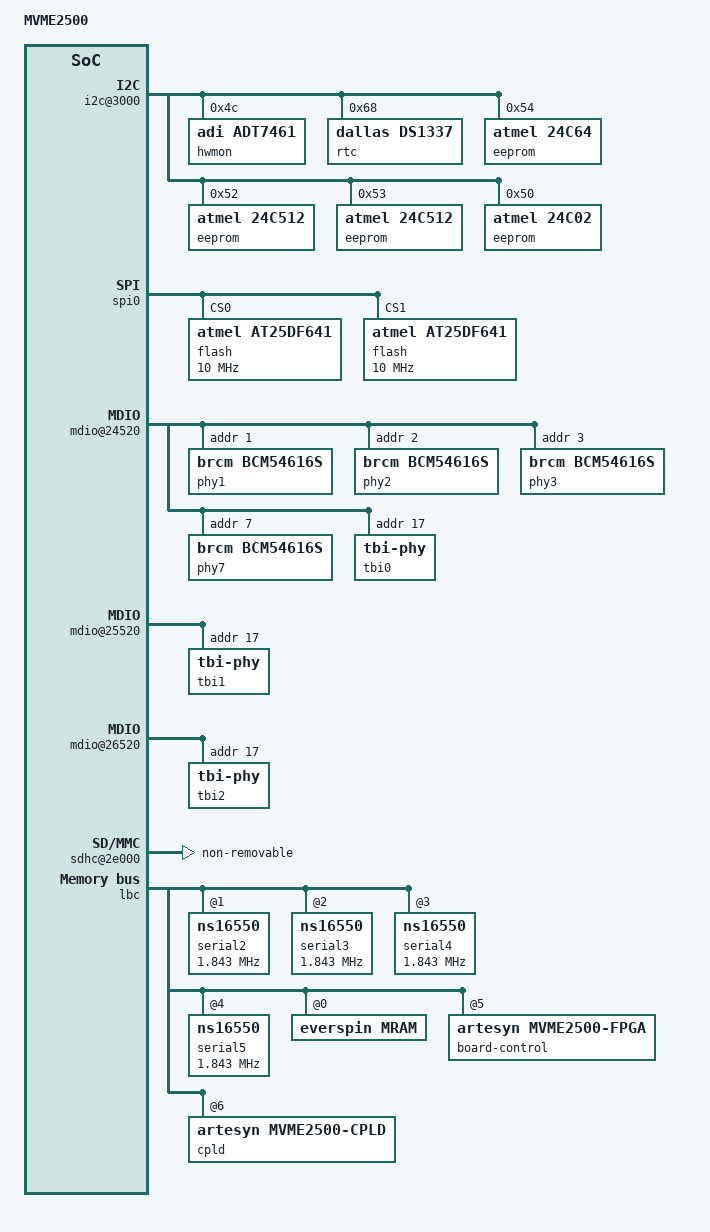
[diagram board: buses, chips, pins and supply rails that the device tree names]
/*
 * Device tree source for the Emerson/Artesyn MVME2500
 *
 * Copyright 2014 Elettra-Sincrotrone Trieste S.C.p.A.
 *
 * This program is free software; you can redistribute  it and/or modify it
 * under  the terms of  the GNU General  Public License as published by the
 * Free Software Foundation;  either version 2 of the  License, or (at your
 * option) any later version.
 *
 * Based on: P2020 DS Device Tree Source
 * Copyright 2009 Freescale Semiconductor Inc.
 */

/include/ "fsl/p2020si-pre.dtsi"

/ {
	model = "MVME2500";
	compatible = "artesyn,MVME2500";

	aliases {
		serial2 = &serial2;
		serial3 = &serial3;
		serial4 = &serial4;
		serial5 = &serial5;
	};

	memory {
		device_type = "memory";
	};

	soc: soc@ffe00000 {
		ranges = <0x0 0 0xffe00000 0x100000>;

		i2c@3000 {
			hwmon@4c {
				compatible = "adi,adt7461";
				reg = <0x4c>;
			};

			rtc@68 {
				compatible = "dallas,ds1337";
				reg = <0x68>;
				interrupts = <8 1 0 0>;
			};

			eeprom@54 {
				compatible = "atmel,24c64";
				reg = <0x54>;
			};

			eeprom@52 {
				compatible = "atmel,24c512";
				reg = <0x52>;
			};

			eeprom@53 {
				compatible = "atmel,24c512";
				reg = <0x53>;
			};

			eeprom@50 {
				compatible = "atmel,24c02";
				reg = <0x50>;
			};

		};

		spi0: spi@7000 {
			fsl,espi-num-chipselects = <2>;

			flash@0 {
				compatible = "atmel,at25df641";
				reg = <0>;
				spi-max-frequency = <10000000>;
			};
			flash@1 {
				compatible = "atmel,at25df641";
				reg = <1>;
				spi-max-frequency = <10000000>;
			};
		};

		usb@22000 {
			dr_mode = "host";
			phy_type = "ulpi";
		};

		enet0: ethernet@24000 {
			tbi-handle = <&tbi0>;
			phy-handle = <&phy1>;
			phy-connection-type = "rgmii-id";
		};

		mdio@24520 {
			phy1: ethernet-phy@1 {
				compatible = "brcm,bcm54616S";
				interrupts = <6 1 0 0>;
				reg = <0x1>;
			};

			phy2: ethernet-phy@2 {
				compatible = "brcm,bcm54616S";
				interrupts = <6 1 0 0>;
				reg = <0x2>;
			};

			phy3: ethernet-phy@3 {
				compatible = "brcm,bcm54616S";
				interrupts = <5 1 0 0>;
				reg = <0x3>;
			};

			phy7: ethernet-phy@7 {
				compatible = "brcm,bcm54616S";
				interrupts = <7 1 0 0>;
				reg = <0x7>;
			};

			tbi0: tbi-phy@11 {
				reg = <0x11>;
				device_type = "tbi-phy";
			};
		};

		enet1: ethernet@25000 {
			tbi-handle = <&tbi1>;
			phy-handle = <&phy7>;
			phy-connection-type = "rgmii-id";
		};

		mdio@25520 {
			tbi1: tbi-phy@11 {
				reg = <0x11>;
				device_type = "tbi-phy";
			};
		};

		enet2: ethernet@26000 {
			tbi-handle = <&tbi2>;
			phy-handle = <&phy3>;
			phy-connection-type = "rgmii-id";
		};

		mdio@26520 {
			tbi2: tbi-phy@11 {
				reg = <0x11>;
				device_type = "tbi-phy";
			};
		};
	};

	lbc: localbus@ffe05000 {
		reg = <0 0xffe05000 0 0x1000>;

		ranges = <0x0 0x0 0x0 0xfff00000 0x00080000
			  0x1 0x0 0x0 0xffc40000 0x00010000
			  0x2 0x0 0x0 0xffc50000 0x00010000
			  0x3 0x0 0x0 0xffc60000 0x00010000
			  0x4 0x0 0x0 0xffc70000 0x00010000
			  0x6 0x0 0x0 0xffc80000 0x00010000
			  0x5 0x0 0x0 0xffdf0000 0x00008000>;

		serial2: serial@1,0 {
			device_type = "serial";
			compatible = "ns16550";
			reg = <0x1 0x0 0x100>;
			clock-frequency = <1843200>;
			interrupts = <11 2 0 0>;
		};

		serial3: serial@2,0 {
			device_type = "serial";
			compatible = "ns16550";
			reg = <0x2 0x0 0x100>;
			clock-frequency = <1843200>;
			interrupts = <1 2 0 0>;
		};

		serial4: serial@3,0 {
			device_type = "serial";
			compatible = "ns16550";
			reg = <0x3 0x0 0x100>;
			clock-frequency = <1843200>;
			interrupts = <2 2 0 0>;
		};

		serial5: serial@4,0 {
			device_type = "serial";
			compatible = "ns16550";
			reg = <0x4 0x0 0x100>;
			clock-frequency = <1843200>;
			interrupts = <3 2 0 0>;
		};

		mram@0,0 {
			compatible = "everspin,mram", "mtd-ram";
			reg = <0x0 0x0 0x80000>;
			bank-width = <2>;
		};

		board-control@5,0 {
			compatible = "artesyn,mvme2500-fpga";
			reg = <0x5 0x0 0x01000>;
		};

		cpld@6,0 {
			compatible = "artesyn,mvme2500-cpld";
			reg = <0x6 0x0 0x10000>;
			interrupts = <9 1 0 0>;
		};
	};

	pci0: pcie@ffe08000 {
		reg = <0 0xffe08000 0 0x1000>;
		ranges = <0x2000000 0x0 0x80000000 0 0x80000000 0x0 0x20000000
			  0x1000000 0x0 0x00000000 0 0xffc00000 0x0 0x10000>;
		pcie@0 {
			ranges = <0x2000000 0x0 0x80000000
				  0x2000000 0x0 0x80000000
				  0x0 0x20000000

				  0x1000000 0x0 0x0
				  0x1000000 0x0 0x0
				  0x0 0x10000>;
		};
	};

	pci1: pcie@ffe09000 {
		reg = <0 0xffe09000 0 0x1000>;
		ranges = <0x2000000 0x0 0xa0000000 0 0xa0000000 0x0 0x20000000
			  0x1000000 0x0 0x00000000 0 0xffc10000 0x0 0x10000>;
		pcie@0 {
			ranges = <0x2000000 0x0 0xa0000000
				  0x2000000 0x0 0xa0000000
				  0x0 0x20000000

				  0x1000000 0x0 0x0
				  0x1000000 0x0 0x0
				  0x0 0x10000>;
		};

	};

	pci2: pcie@ffe0a000 {
		reg = <0 0xffe0a000 0 0x1000>;
		ranges = <0x2000000 0x0 0xc0000000 0 0xc0000000 0x0 0x20000000
			  0x1000000 0x0 0x00000000 0 0xffc20000 0x0 0x10000>;
		pcie@0 {
			ranges = <0x2000000 0x0 0xc0000000
				  0x2000000 0x0 0xc0000000
				  0x0 0x20000000

				  0x1000000 0x0 0x0
				  0x1000000 0x0 0x0
				  0x0 0x10000>;
		};
	};
};

/include/ "fsl/p2020si-post.dtsi"

/ {
	soc@ffe00000 {
		serial@4600 {
			status = "disabled";
		};

		i2c@3100 {
			status = "disabled";
		};

		sdhc@2e000 {
			compatible = "fsl,p2020-esdhc", "fsl,esdhc";
			non-removable;
		};

	};

};
